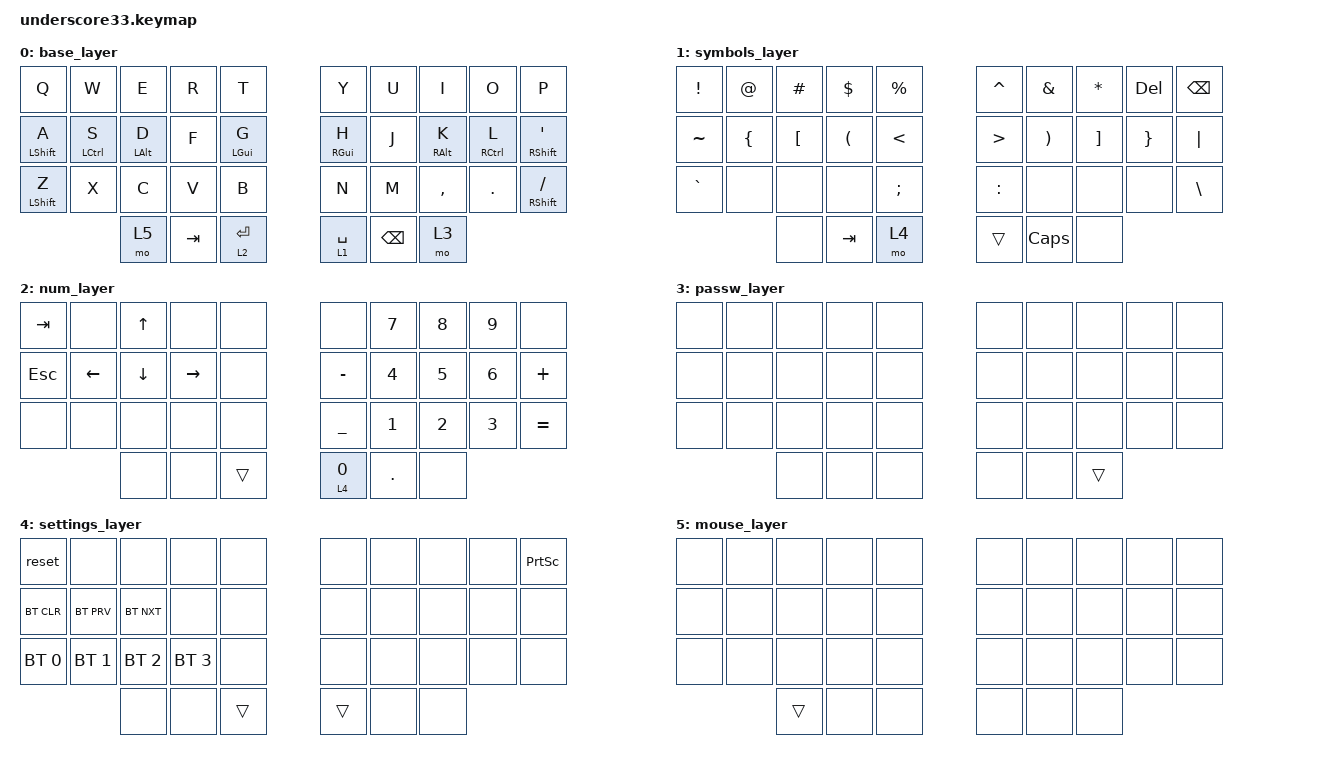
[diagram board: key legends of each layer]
/*
 * Copyright (c) 2020 The ZMK Contributors
 *
 * SPDX-License-Identifier: MIT
 */

#include <behaviors.dtsi>
#include <dt-bindings/zmk/keys.h>
#include <dt-bindings/zmk/bt.h>

/ {

behaviors {
      hm: homerow_mods {
        compatible = "zmk,behavior-hold-tap";
        label = "HOMEROW_MODS";
        #binding-cells = <2>;
        tapping_term_ms = <300>;
        flavor = "tap-preferred";
        bindings = <&kp>, <&kp>;
    };


};
        keymap {
                compatible = "zmk,keymap";

                base_layer {
// -----------------------------------------------------------------------------------------
// |  Q  |  W  |  E  |  R  |  T   |  Y  |  U   |  I  |  O  |  P  |
// |  A  |  S  |  D  |  F  |  G   |  H  |  J   |  K  |  L  |  '  |
// |  Z  |  X  |  C  |  V  |  B   |  N  |  M   |  ,  |  .  |  /  |
//       | mo5 | TAB |   LT2,ENT  |  LT1,SPC   |BSPC | mo3 |
                        bindings = <
   &kp Q        &kp W       &kp E       &kp R     &kp T       &kp Y       &kp U  &kp I       &kp O        &kp P
   &hm LSHFT A  &hm LCTRL S &hm LALT D  &kp F     &hm LGUI G  &hm RGUI H  &kp J  &hm RALT K  &hm RCTRL L  &hm RSHFT SQT
   &hm LSHFT Z  &kp X       &kp C       &kp V     &kp B       &kp N       &kp M  &kp COMMA   &kp DOT      &hm RSHFT FSLH
   &mo 5        &kp TAB                 &lt 2 RET             &lt 1 SPC                      &kp BSPC     &mo 3
                                   >;
                             };

                symbols_layer {
// -----------------------------------------------------------------------------------------
// |     |     |     |     |      |     |     |     |     |     |
// |     |     |     |     |      |     |     |     |     |     |
// |     |     |     |     |      |     |     |     |     |     |
//       |     |     |            |           |     |     |
                        bindings = <
   &kp EXCL  &kp AT    &kp HASH  &kp DOLLAR  &kp PRCNT   &kp CARET  &kp AMPS  &kp STAR  &kp DEL   &kp BSPC
   &kp TILDE &kp LBRC  &kp LBKT  &kp LPAR    &kp LT      &kp GT     &kp RPAR  &kp RBKT  &kp RBRC  &kp PIPE
   &kp GRAVE &none     &none     &none       &kp SEMI    &kp COLON  &none     &none     &none     &kp BSLH
   &none     &kp TAB                         &mo 4                  &trans              &kp CAPS  &none
                                   >;
                               };

                num_layer {
// -----------------------------------------------------------------------------------------
// |     |     |     |     |      |     |     |     |     |     |
// |     |     |     |     |      |     |     |     |     |     |
// |     |     |     |     |      |     |     |     |     |     |
//       |     |     |            |           |     |     |
                        bindings = <
   &kp TAB   &none    &kp UP    &none      &none   &none      &kp N7  &kp N8  &kp N9  &none
   &kp ESC   &kp LEFT &kp DOWN  &kp RIGHT  &none   &kp MINUS  &kp N4  &kp N5  &kp N6  &kp PLUS
   &none     &none    &none     &none      &none   &kp UNDER  &kp N1  &kp N2  &kp N3  &kp EQUAL
   &none     &none                         &trans             &lt 4 N0        &kp DOT &none
                                   >;
                          };

                 passw_layer {
// -----------------------------------------------------------------------------------------
// |     |     |     |     |      |     |     |     |     |     |
// |     |     |     |     |      |     |     |     |     |     |
// |     |     |     |     |      |     |     |     |     |     |
//       |     |     |            |           |     |     |
                        bindings = <
   &none  &none  &none  &none  &none  &none  &none  &none  &none  &none
   &none  &none  &none  &none  &none  &none  &none  &none  &none  &none
   &none  &none  &none  &none  &none  &none  &none  &none  &none  &none
   &none  &none                &none  &none                &none  &trans
                                   >;
                            };

                 settings_layer {
// -----------------------------------------------------------------------------------------
// |     |     |     |     |      |     |     |     |     |     |
// |     |     |     |     |      |     |     |     |     |     |
// |     |     |     |     |      |     |     |     |     |     |
//       |     |     |            |           |     |     |
                        bindings = <
     &reset         &none         &none         &none         &none  &none  &none  &none  &none  &kp PSCRN
     &bt BT_CLR     &bt BT_PRV    &bt BT_NXT    &none         &none  &none  &none  &none  &none  &none
     &bt BT_SEL 0   &bt BT_SEL 1  &bt BT_SEL 2  &bt BT_SEL 3  &none  &none  &none  &none  &none  &none
     &none          &none                       &trans                &trans              &none  &none
                                   >;
                                 };

                 mouse_layer {
// -----------------------------------------------------------------------------------------
// |     |     |     |     |      |     |     |     |     |     |
// |     |     |     |     |      |     |     |     |     |     |
// |     |     |     |     |      |     |     |     |     |     |
//       |     |     |            |           |     |     |
                        bindings = <
     &none   &none  &none  &none  &none  &none  &none  &none  &none  &none
     &none   &none  &none  &none  &none  &none  &none  &none  &none  &none
     &none   &none  &none  &none  &none  &none  &none  &none  &none  &none
     &trans  &none    &none    &none      &none      &none
                                   >;
                };


        };
};
